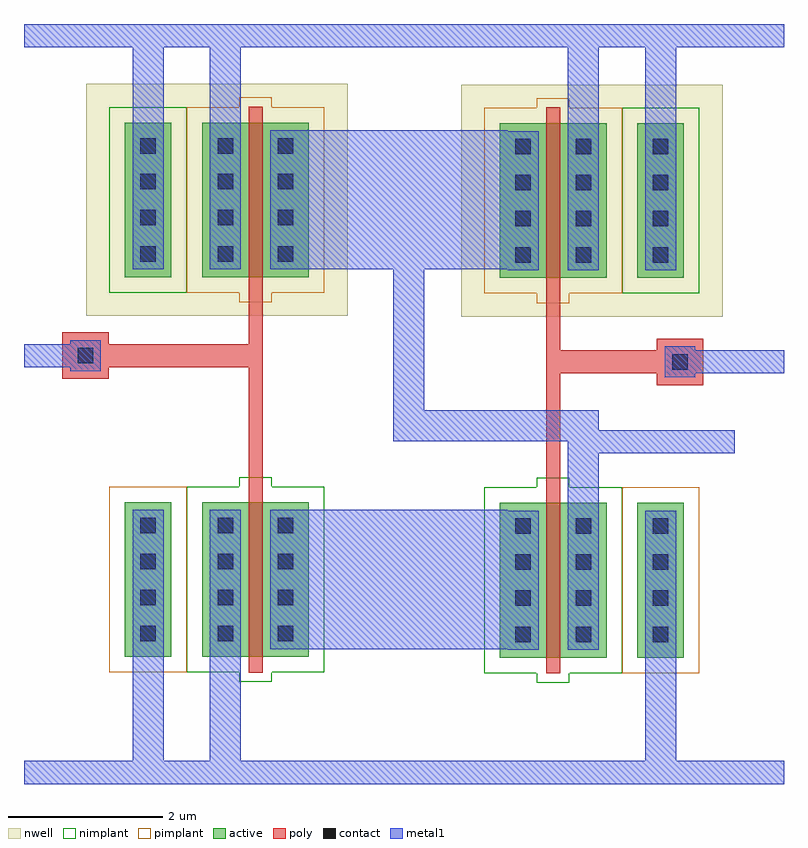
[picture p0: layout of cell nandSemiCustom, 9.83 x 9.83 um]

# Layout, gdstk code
from math import pi, radians
import gdstk
lib = gdstk.Library(unit=1e-6, precision=5e-10)
def R(c, l, rs):  # rectangles x0, y0, x1, y1
    for r in rs: c.add(gdstk.rectangle(r[:2], r[2:], *l))
def A(c, l, x, y, w, h, nx, ny, dx, dy):  # array of equal rectangles
    R(c, l, [(x+i*dx, y+j*dy, x+i*dx+w, y+j*dy+h) for i in range(nx) for j in range(ny)])
active = (1, 0)
nwell = (2, 0)
poly = (3, 0)
nimplant = (4, 0)
pimplant = (5, 0)
contact = (6, 0)
metal1 = (7, 0)

nmos_cdns_691751262130 = lib.new_cell('nmos_CDNS_691751262130')
R(nmos_cdns_691751262130, active, [(-1.6,0,-1,2), (-0.6,0,0,2), (0,0,0.18,2), (0.18,0,0.78,2)])
R(nmos_cdns_691751262130, poly, [(0,-0.205,0.18,-0.2), (0,-0.2,0.18,0), (0,0,0.18,2), (0,2,0.18,2.2), (0,2.2,0.18,2.205)])
R(nmos_cdns_691751262130, nimplant, [(-0.12,-0.325,0.3,-0.2), (-0.8,-0.2,0.98,2.2), (-0.12,2.2,0.3,2.325)])
R(nmos_cdns_691751262130, pimplant, [(-1.8,-0.2,-0.8,2.2)])
A(nmos_cdns_691751262130, contact, -1.4, 0.67, 0.2, 0.2, 1, 3, 0, 0.465)
A(nmos_cdns_691751262130, contact, -0.4, 0.67, 0.2, 0.2, 1, 3, 0, 0.465)
A(nmos_cdns_691751262130, contact, 0.38, 0.67, 0.2, 0.2, 1, 3, 0, 0.465)
R(nmos_cdns_691751262130, contact, [(-1.4,0.2,-1.2,0.4), (-0.4,0.2,-0.2,0.4), (0.38,0.2,0.58,0.4)])
R(nmos_cdns_691751262130, metal1, [(-1.5,0.1,-1.1,1.9), (-0.5,0.1,-0.1,1.9), (0.28,0.1,0.68,1.9)])

nmos_cdns_691751262131 = lib.new_cell('nmos_CDNS_691751262131')
R(nmos_cdns_691751262131, active, [(-0.6,0,0,2), (0,0,0.18,2), (0.18,0,0.78,2), (1.18,0,1.78,2)])
R(nmos_cdns_691751262131, poly, [(0,-0.205,0.18,-0.2), (0,-0.2,0.18,0), (0,0,0.18,2), (0,2,0.18,2.2), (0,2.2,0.18,2.205)])
R(nmos_cdns_691751262131, nimplant, [(-0.12,-0.325,0.3,-0.2), (-0.8,-0.2,0.98,2.2), (-0.12,2.2,0.3,2.325)])
R(nmos_cdns_691751262131, pimplant, [(0.98,-0.2,1.98,2.2)])
A(nmos_cdns_691751262131, contact, -0.4, 0.67, 0.2, 0.2, 1, 3, 0, 0.465)
A(nmos_cdns_691751262131, contact, 0.38, 0.67, 0.2, 0.2, 1, 3, 0, 0.465)
A(nmos_cdns_691751262131, contact, 1.38, 0.67, 0.2, 0.2, 1, 3, 0, 0.465)
R(nmos_cdns_691751262131, contact, [(-0.4,0.2,-0.2,0.4), (0.38,0.2,0.58,0.4), (1.38,0.2,1.58,0.4)])
R(nmos_cdns_691751262131, metal1, [(-0.5,0.1,-0.1,1.9), (0.28,0.1,0.68,1.9), (1.28,0.1,1.68,1.9)])

pmos_cdns_691751262132 = lib.new_cell('pmos_CDNS_691751262132')
R(pmos_cdns_691751262132, active, [(-1.6,0,-1,2), (-0.6,0,0,2), (0,0,0.18,2), (0.18,0,0.78,2)])
R(pmos_cdns_691751262132, nwell, [(-2.1,-0.5,1.28,2.5)])
R(pmos_cdns_691751262132, poly, [(0,-0.205,0.18,-0.2), (0,-0.2,0.18,0), (0,0,0.18,2), (0,2,0.18,2.2), (0,2.2,0.18,2.205)])
R(pmos_cdns_691751262132, nimplant, [(-1.8,-0.2,-0.8,2.2)])
R(pmos_cdns_691751262132, pimplant, [(-0.12,-0.325,0.3,-0.2), (-0.8,-0.2,0.98,2.2), (-0.12,2.2,0.3,2.325)])
A(pmos_cdns_691751262132, contact, -1.4, 0.67, 0.2, 0.2, 1, 3, 0, 0.465)
A(pmos_cdns_691751262132, contact, -0.4, 0.67, 0.2, 0.2, 1, 3, 0, 0.465)
A(pmos_cdns_691751262132, contact, 0.38, 0.67, 0.2, 0.2, 1, 3, 0, 0.465)
R(pmos_cdns_691751262132, contact, [(-1.4,0.2,-1.2,0.4), (-0.4,0.2,-0.2,0.4), (0.38,0.2,0.58,0.4)])
R(pmos_cdns_691751262132, metal1, [(-1.5,0.1,-1.1,1.9), (-0.5,0.1,-0.1,1.9), (0.28,0.1,0.68,1.9)])

m1_poly1_cdns_6917512621 = lib.new_cell('M1_POLY1_CDNS_691751262130')
R(m1_poly1_cdns_6917512621, poly, [(-0.3,-0.3,0.3,0.3)])
R(m1_poly1_cdns_6917512621, contact, [(-0.1,-0.1,0.1,0.1)])
R(m1_poly1_cdns_6917512621, metal1, [(-0.2,-0.2,0.2,0.2)])

nandsemicustom = lib.new_cell('nandSemiCustom')
R(nandsemicustom, metal1, [(0,0,9.83,0.3), (8.895,4.275,9.195,4.575), (9.53,5.31,9.83,5.61), (0,5.39,0.3,5.69), (0,9.53,9.83,9.83)])
nandsemicustom.add(gdstk.FlexPath([(8.485,5.46),(6.935,5.46)], 0.3, ends="flush", simple_path=True, layer=3, datatype=0))  # poly
nandsemicustom.add(gdstk.FlexPath([(2.995,6.35),(2.995,5.54)], 0.18, ends=(0, 0.15), simple_path=True, layer=3, datatype=0))  # poly
nandsemicustom.add(gdstk.FlexPath([(0.795,5.54),(2.995,5.54)], 0.3, ends=(0, 0.09), simple_path=True, layer=3, datatype=0))  # poly
nandsemicustom.add(gdstk.FlexPath([(6.845,3.84),(6.845,6.34)], 0.18, ends="flush", simple_path=True, layer=3, datatype=0))  # poly
nandsemicustom.add(gdstk.FlexPath([(2.995,5.54),(2.995,3.85)], 0.18, ends=(0.15, 0), simple_path=True, layer=3, datatype=0))  # poly
nandsemicustom.add(gdstk.FlexPath([(8.235,1.735),(8.235,0.3)], 0.4, ends="flush", simple_path=True, layer=7, datatype=0))  # metal1
nandsemicustom.add(gdstk.FlexPath([(1.605,1.745),(1.605,0.3)], 0.4, ends="flush", simple_path=True, layer=7, datatype=0))  # metal1
nandsemicustom.add(gdstk.FlexPath([(2.605,1.745),(2.605,0.3)], 0.4, ends="flush", simple_path=True, layer=7, datatype=0))  # metal1
nandsemicustom.add(gdstk.FlexPath([(8.895,4.425),(7.235,4.425)], 0.3, ends=(0, 0.2), simple_path=True, layer=7, datatype=0))  # metal1
nandsemicustom.add(gdstk.FlexPath([(7.235,3.535),(7.235,4.425)], 0.4, ends=(0, 0.15), simple_path=True, layer=7, datatype=0))  # metal1
nandsemicustom.add(gdstk.FlexPath([(7.235,4.425),(7.235,4.635)], 0.4, ends=(0.15, 0.2), simple_path=True, layer=7, datatype=0))  # metal1
nandsemicustom.add(gdstk.FlexPath([(7.235,4.635),(4.975,4.635)], 0.4, ends="extended", simple_path=True, layer=7, datatype=0))  # metal1
nandsemicustom.add(gdstk.FlexPath([(4.975,4.635),(4.975,7.555)], 0.4, ends=(0.2, 0.9), simple_path=True, layer=7, datatype=0))  # metal1
nandsemicustom.add(gdstk.FlexPath([(3.585,7.555),(4.975,7.555)], 1.8, ends=(0, 0.2), simple_path=True, layer=7, datatype=0))  # metal1
nandsemicustom.add(gdstk.FlexPath([(9.53,5.46),(8.485,5.46)], 0.3, ends="flush", simple_path=True, layer=7, datatype=0))  # metal1
nandsemicustom.add(gdstk.FlexPath([(0.15,5.54),(0.795,5.54)], 0.3, ends="flush", simple_path=True, layer=7, datatype=0))  # metal1
nandsemicustom.add(gdstk.FlexPath([(8.235,8.445),(8.235,9.53)], 0.4, ends="flush", simple_path=True, layer=7, datatype=0))  # metal1
nandsemicustom.add(gdstk.FlexPath([(1.605,8.455),(1.605,9.53)], 0.4, ends="flush", simple_path=True, layer=7, datatype=0))  # metal1
nandsemicustom.add(gdstk.FlexPath([(2.605,8.455),(2.605,9.53)], 0.4, ends="flush", simple_path=True, layer=7, datatype=0))  # metal1
nandsemicustom.add(gdstk.FlexPath([(7.235,8.445),(7.235,9.53)], 0.4, ends="flush", simple_path=True, layer=7, datatype=0))  # metal1
nandsemicustom.add(gdstk.FlexPath([(3.585,2.645),(6.255,2.645)], 1.8, ends="flush", simple_path=True, layer=7, datatype=0))  # metal1
nandsemicustom.add(gdstk.FlexPath([(4.975,7.555),(6.255,7.555)], 1.8, ends=(0.2, 0), simple_path=True, layer=7, datatype=0))  # metal1
nandsemicustom.add(gdstk.Reference(nmos_cdns_691751262130, (6.935,1.635), rotation=pi, x_reflection=True))
nandsemicustom.add(gdstk.Reference(nmos_cdns_691751262131, (3.085,1.645), rotation=pi, x_reflection=True))
nandsemicustom.add(gdstk.Reference(pmos_cdns_691751262132, (6.935,6.545), rotation=pi, x_reflection=True))
nandsemicustom.add(gdstk.Reference(pmos_cdns_691751262132, (2.905,6.555)))
nandsemicustom.add(gdstk.Reference(m1_poly1_cdns_6917512621, (8.485,5.46)))
nandsemicustom.add(gdstk.Reference(m1_poly1_cdns_6917512621, (0.795,5.54)))

lib.write_gds('nandSemiCustom.gds')
